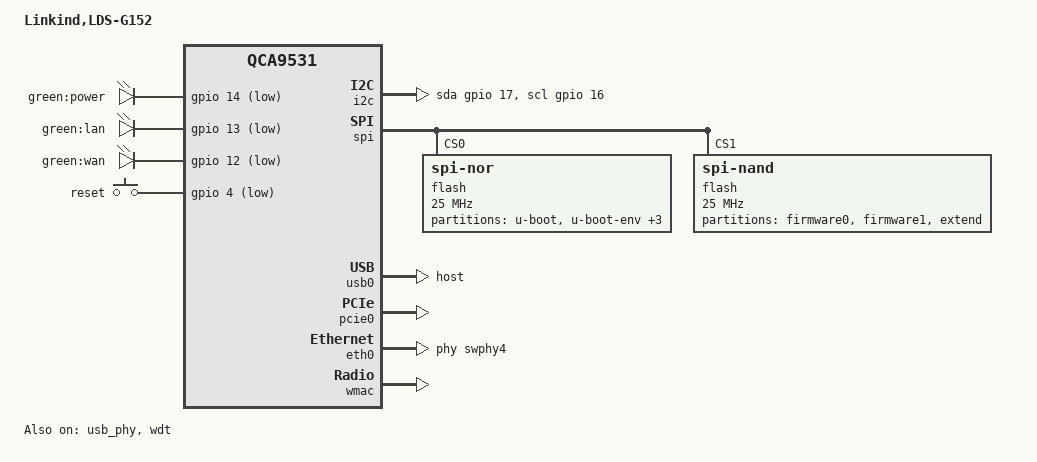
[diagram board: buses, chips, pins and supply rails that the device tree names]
// SPDX-License-Identifier: GPL-2.0-or-later OR MIT

#include "qca953x.dtsi"

#include <dt-bindings/gpio/gpio.h>
#include <dt-bindings/input/input.h>

/ {
	compatible = "linkind,lds-g152", "qca,qca9531";
	model = "Linkind,LDS-G152";

	aliases {
		led-boot = &led_power_green;
		led-failsafe = &led_power_green;
		led-running = &led_power_green;
		led-upgrade = &led_power_green;
	};

	leds {
		compatible = "gpio-leds";

		led_power_green: power_green {
			label = "green:power";
			gpios = <&gpio 14 GPIO_ACTIVE_LOW>;
		};

		lan_green {
			label = "green:lan";
			gpios = <&gpio 13 GPIO_ACTIVE_LOW>;
		};

		wan_green {
			label = "green:wan";
			gpios = <&gpio 12 GPIO_ACTIVE_LOW>;
		};
	};

	keys {
		compatible = "gpio-keys";

		reset {
			label = "reset";
			linux,code = <KEY_RESTART>;
			gpios = <&gpio 4 GPIO_ACTIVE_LOW>;
		};
	};

	i2c: i2c {
		compatible = "i2c-gpio";

		scl-gpios = <&gpio 16 (GPIO_ACTIVE_HIGH|GPIO_OPEN_DRAIN)>;
		sda-gpios = <&gpio 17 (GPIO_ACTIVE_HIGH|GPIO_OPEN_DRAIN)>;
	};
};

&spi {
	status = "okay";

	/* Macronix MX25l3205D SPI flash */
	flash@0 {
		compatible = "jedec,spi-nor";
		reg = <0>;
		spi-max-frequency = <25000000>;

		partitions {
			compatible = "fixed-partitions";
			#address-cells = <1>;
			#size-cells = <1>;

			partition@0 {
				label = "u-boot";
				reg = <0x000000 0x040000>;
				read-only;
			};

			partition@40000 {
				label = "u-boot-env";
				reg = <0x040000 0x010000>;
			};

			partition@50000 {
				label = "u-boot-env-bak";
				reg = <0x050000 0x010000>;
			};

			partition@60000 {
				label = "reserved";
				reg = <0x060000 0x010000>;
				read-only;
			};

			art: partition@70000 {
				label = "art";
				reg = <0x070000 0x010000>;
				read-only;
			};
		};
	};

	/* Macronix MX35LF1G4EAB Nand? flash */
	flash@1 {
		compatible = "spi-nand";
		reg = <1>;
		spi-max-frequency = <25000000>;

		partitions {
			compatible = "fixed-partitions";
			#address-cells = <1>;
			#size-cells = <1>;

			firmware0: partition@0 {
				compatible = "denx,uimage";
				label = "firmware0";
				reg = <0x0000000 0x2200000>;
			};

			firmware1: partition@2200000 {
				compatible = "denx,uimage";
				label = "firmware1";
				reg = <0x2200000 0x2200000>;
			};

			partition@4400000 {
				label = "extend";
				reg = <0x4400000 0x3c00000>;
			};
		};
	};
};

&usb_phy {
	status = "okay";
};

&usb0 {
	status = "okay";

	dr_mode = "host";
};

&pcie0 {
	status = "okay";
};

&wdt {
	status = "okay";
};

&eth0 {
	status = "okay";

	phy-handle = <&swphy4>;

	nvmem-cells = <&macaddr_art_0>;
	nvmem-cell-names = "mac-address";
};

&eth1 {
	nvmem-cells = <&macaddr_art_0>;
	nvmem-cell-names = "mac-address";
	mac-address-increment = <1>;
};

&wmac {
	status = "okay";

	mtd-cal-data = <&art 0x1000>;
};

&art {
	compatible = "nvmem-cells";
	#address-cells = <1>;
	#size-cells = <1>;

	macaddr_art_0: macaddr@0 {
		reg = <0x0 0x6>;
	};
};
